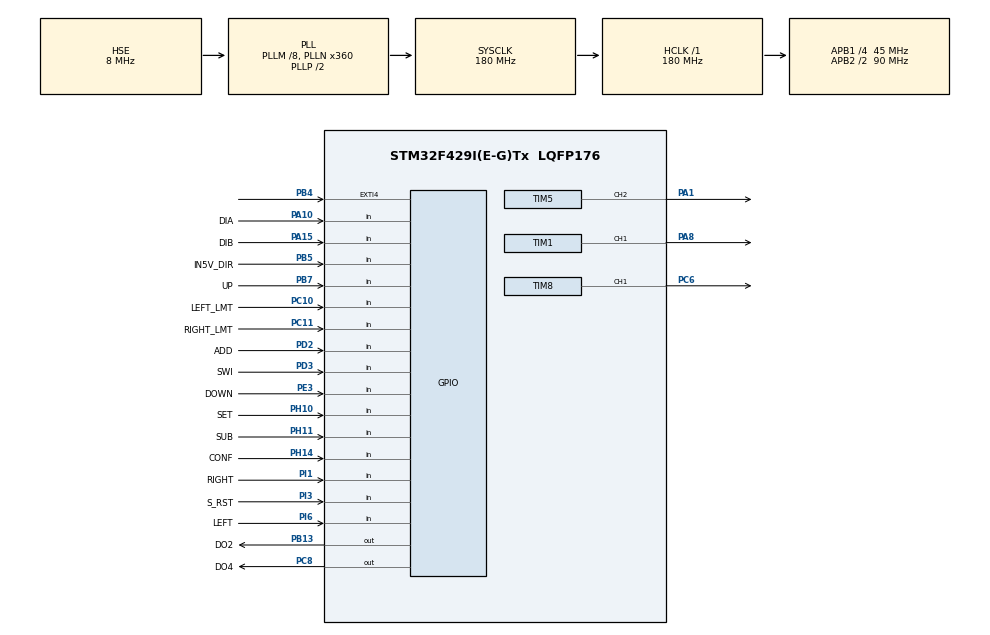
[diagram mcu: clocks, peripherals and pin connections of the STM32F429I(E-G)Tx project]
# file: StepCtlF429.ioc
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Mcu.Family=STM32F4
Mcu.Name=STM32F429I(E-G)Tx
Mcu.Package=LQFP176
NVIC.EXTI4_IRQn=true\:0\:0\:false\:false\:true\:true\:true\:true
NVIC.PriorityGroup=NVIC_PRIORITYGROUP_4
NVIC.TIM6_DAC_IRQn=true\:1\:0\:true\:false\:true\:true\:true\:true
PA1.Signal=S_TIM5_CH2
PA10.GPIO_Label=DIA
PA10.Signal=GPIO_Input
PA13.Mode=Serial_Wire
PA13.Signal=SYS_JTMS-SWDIO
PA14.Mode=Serial_Wire
PA14.Signal=SYS_JTCK-SWCLK
PA15.GPIO_Label=DIB
PA15.Signal=GPIO_Input
PA8.Signal=S_TIM1_CH1
PB13.GPIO_Label=DO2
PB13.Signal=GPIO_Output
PB4.Signal=GPXTI4
PB5.GPIO_Label=IN5V_DIR
PB5.Signal=GPIO_Input
PB7.GPIO_Label=UP
PB7.Signal=GPIO_Input
PC10.GPIO_Label=LEFT_LMT
PC10.Signal=GPIO_Input
PC11.GPIO_Label=RIGHT_LMT
PC11.Signal=GPIO_Input
PC6.Signal=S_TIM8_CH1
PC8.GPIO_Label=DO4
PC8.Signal=GPIO_Output
PD2.GPIO_Label=ADD
PD2.Signal=GPIO_Input
PD3.GPIO_Label=SWI
PD3.Signal=GPIO_Input
PE3.GPIO_Label=DOWN
PE3.Signal=GPIO_Input
PH0/OSC_IN.Mode=HSE-External-Oscillator
PH0/OSC_IN.Signal=RCC_OSC_IN
PH1/OSC_OUT.Mode=HSE-External-Oscillator
PH1/OSC_OUT.Signal=RCC_OSC_OUT
PH10.GPIO_Label=SET
PH10.Signal=GPIO_Input
PH11.GPIO_Label=SUB
PH11.Signal=GPIO_Input
PH14.GPIO_Label=CONF
PH14.Signal=GPIO_Input
PI1.GPIO_Label=RIGHT
PI1.Signal=GPIO_Input
PI3.GPIO_Label=S_RST
PI3.Signal=GPIO_Input
PI6.GPIO_Label=LEFT
PI6.Signal=GPIO_Input
ProjectManager.HeapSize=0x200
ProjectManager.StackSize=0x400
ProjectManager.TargetToolchain=MDK-ARM V5.27
RCC.48MHZClocksFreq_Value=90000000
RCC.AHBFreq_Value=180000000
RCC.APB1CLKDivider=RCC_HCLK_DIV4
RCC.APB1Freq_Value=45000000
RCC.APB1TimFreq_Value=90000000
RCC.APB2CLKDivider=RCC_HCLK_DIV2
RCC.APB2Freq_Value=90000000
RCC.APB2TimFreq_Value=180000000
RCC.CortexFreq_Value=180000000
RCC.HCLKFreq_Value=180000000
RCC.HSE_VALUE=8000000
RCC.HSI_VALUE=16000000
RCC.LSE_VALUE=32768
RCC.PLLM=8
RCC.PLLN=360
RCC.PLLSourceVirtual=RCC_PLLSOURCE_HSE
RCC.SYSCLKFreq_VALUE=180000000
RCC.SYSCLKSource=RCC_SYSCLKSOURCE_PLLCLK
RCC.VCOOutputFreq_Value=360000000
SH.S_TIM1_CH1.0=TIM1_CH1,PWM Generation1 CH1
SH.S_TIM5_CH2.0=TIM5_CH2,PWM Generation2 CH2
SH.S_TIM8_CH1.0=TIM8_CH1,PWM Generation1 CH1
TIM1.AutoReloadPreload=TIM_AUTORELOAD_PRELOAD_DISABLE
TIM1.Channel-PWM\ Generation1\ CH1=TIM_CHANNEL_1
TIM1.OC1Preload_PWM=DISABLE
TIM1.Prescaler=180-1
TIM5.Channel-PWM\ Generation2\ CH2=TIM_CHANNEL_2
TIM5.Period=100-1
TIM5.Prescaler=90-1
TIM5.Pulse-PWM\ Generation2\ CH2=80-1
TIM6.Period=2000-1
TIM6.Prescaler=90-1
TIM8.Channel-PWM\ Generation1\ CH1=TIM_CHANNEL_1
TIM8.OC1Preload_PWM=DISABLE
TIM8.Prescaler=180-1
VP_TIM1_VS_ClockSourceINT.Mode=Internal
VP_TIM5_VS_ClockSourceINT.Mode=Internal
VP_TIM6_VS_ClockSourceINT.Mode=Enable_Timer
VP_TIM8_VS_ClockSourceINT.Mode=Internal
board=custom

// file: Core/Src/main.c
/* USER CODE BEGIN Header */
/**
 ******************************************************************************
 * @file           : main.c
 * @brief          : Main program body
 ******************************************************************************
 * @attention
 *
 * Copyright (c) 2024 STMicroelectronics.
 * All rights reserved.
 *
 * This software is licensed under terms that can be found in the LICENSE file
 * in the root directory of this software component.
 * If no LICENSE file comes with this software, it is provided AS-IS.
 *
 ******************************************************************************
 */
/* USER CODE END Header */
#include "main.h"
#include "tim.h"
#include "gpio.h"

/* USER CODE BEGIN Includes */
#include <string.h>
#include <stdio.h>
#include "button.h"
#include "oled.h"
#include "gui.h"
#include "control.h"
#include "pwm.h"
#include "pulin_sig.h"
#include "./lcd/bsp_lcd.h"
#include "./touch/bsp_touch_gtxx.h"
/* USER CODE END Includes */

/* USER CODE BEGIN PV */
volatile uint32_t pulseCnt;
volatile uint32_t pulseFreq;
/* USER CODE END PV */

void SystemClock_Config(void);

int main(void)
{

  /* MCU Configuration--------------------------------------------------------*/

  /* Reset of all peripherals, Initializes the Flash interface and the Systick. */

  HAL_Init();

  /* Configure the system clock */
  SystemClock_Config();

  /* Initialize all configured peripherals */
  MX_GPIO_Init();
  MX_TIM1_Init();
  MX_TIM6_Init();
  MX_TIM8_Init();
  MX_TIM5_Init();
  /* USER CODE BEGIN 2 */
  buttonInit();
  guiInit();

  setFreq(&htim1, 1);
  setFreq(&htim8, 1);

  ctlInit();

  // Control loop 2ms
  __HAL_TIM_CLEAR_IT(&htim6, TIM_IT_UPDATE);
  HAL_TIM_Base_Start_IT(&htim6);

  // X and Y axis output
  HAL_TIM_PWM_Start(&htim1, TIM_CHANNEL_1);
  HAL_TIM_PWM_Start(&htim8, TIM_CHANNEL_1);
	HAL_TIM_PWM_Start(&htim5, TIM_CHANNEL_2);

  // HAL_TIM_IC_Start_IT(&htim3, TIM_CHANNEL_1);

  /* USER CODE END 2 */

  /* Infinite loop */
  /* USER CODE BEGIN WHILE */
  while (1)
  {
    buttonUpdate();
    guiTask();
    /* USER CODE END WHILE */

  }
}

void SystemClock_Config(void)
{
  RCC_OscInitTypeDef RCC_OscInitStruct = {0};
  RCC_ClkInitTypeDef RCC_ClkInitStruct = {0};

  /** Configure the main internal regulator output voltage
  */
  __HAL_RCC_PWR_CLK_ENABLE();
  __HAL_PWR_VOLTAGESCALING_CONFIG(PWR_REGULATOR_VOLTAGE_SCALE1);

  /** Initializes the RCC Oscillators according to the specified parameters
  * in the RCC_OscInitTypeDef structure.
  */
  RCC_OscInitStruct.OscillatorType = RCC_OSCILLATORTYPE_HSE;
  RCC_OscInitStruct.HSEState = RCC_HSE_ON;
  RCC_OscInitStruct.PLL.PLLState = RCC_PLL_ON;
  RCC_OscInitStruct.PLL.PLLSource = RCC_PLLSOURCE_HSE;
  RCC_OscInitStruct.PLL.PLLM = 8;
  RCC_OscInitStruct.PLL.PLLN = 360;
  RCC_OscInitStruct.PLL.PLLP = RCC_PLLP_DIV2;
  RCC_OscInitStruct.PLL.PLLQ = 4;
  if (HAL_RCC_OscConfig(&RCC_OscInitStruct) != HAL_OK)
  {
    Error_Handler();
  }

  /** Activate the Over-Drive mode
  */
  if (HAL_PWREx_EnableOverDrive() != HAL_OK)
  {
    Error_Handler();
  }

  /** Initializes the CPU, AHB and APB buses clocks
  */
  RCC_ClkInitStruct.ClockType = RCC_CLOCKTYPE_HCLK|RCC_CLOCKTYPE_SYSCLK
                              |RCC_CLOCKTYPE_PCLK1|RCC_CLOCKTYPE_PCLK2;
  RCC_ClkInitStruct.SYSCLKSource = RCC_SYSCLKSOURCE_PLLCLK;
  RCC_ClkInitStruct.AHBCLKDivider = RCC_SYSCLK_DIV1;
  RCC_ClkInitStruct.APB1CLKDivider = RCC_HCLK_DIV4;
  RCC_ClkInitStruct.APB2CLKDivider = RCC_HCLK_DIV2;

  if (HAL_RCC_ClockConfig(&RCC_ClkInitStruct, FLASH_LATENCY_5) != HAL_OK)
  {
    Error_Handler();
  }
}

/* USER CODE BEGIN 4 */

void HAL_TIM_PeriodElapsedCallback(TIM_HandleTypeDef *htim) // 定时器中断回调函数
{
  //	if(htim == &htim2)
  //	{
  //		if (zhenShu == 0)
  //		{
  //			HAL_TIM_Base_Stop(&htim2);
  //			HAL_TIM_PWM_Stop(&htim1, TIM_CHANNEL_1);
  //		}
  //		else if (zhenShu > 0)
  //		{
  //			cnt++;
  //			if (cnt == zhenShu)
  //			{
  //				htim2.Instance->ARR = xiaoShu - 1;
  //			}
  //		}
  //		else if (cnt == zhenShu + 1)
  //		{
  //			HAL_TIM_Base_Stop(&htim2);
  //			HAL_TIM_PWM_Stop(&htim1, TIM_CHANNEL_1);
  //		}
  //	}

  //	if (htim == &htim5)
  //	{
  //			HAL_TIM_Base_Stop(&htim2);
  //			HAL_TIM_PWM_Stop(&htim1, TIM_CHANNEL_1);
  //	}

  if (htim == &htim6)
  {
		pulseFreq = pulseCnt;
    ctlFixedUpd();
		pulseCnt = 0;
  }
}

/**
 * @brief  Conversion complete callback in non blocking mode
 * @param  htim: TIM handle
 * @retval None
 */
void HAL_TIM_IC_CaptureCallback(TIM_HandleTypeDef *htim)
{
   if (htim->Channel == HAL_TIM_ACTIVE_CHANNEL_1)
   {
			freqCalcHandler();
   }
}

/**
  * @brief EXTI line detection callbacks
  * @param GPIO_Pin: Specifies the pins connected EXTI line
  * @retval None
  */
void HAL_GPIO_EXTI_Callback(uint16_t GPIO_Pin)
{
	pulseCnt++;
}

/* USER CODE END 4 */

void Error_Handler(void)
{
  __disable_irq();
  while (1)
  {
  }
}
